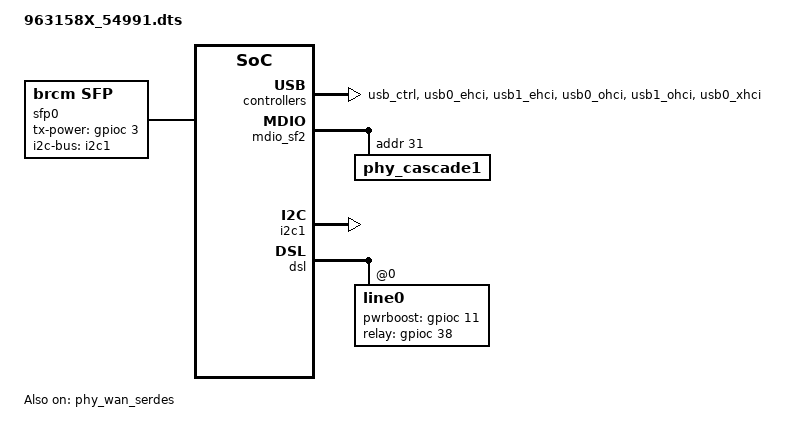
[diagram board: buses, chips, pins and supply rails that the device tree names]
#include "63158.dtsi"
#include "963158X_leds.dtsi"

/ {
    memory_controller {
        memcfg = <(BP_DDR_SPEED_1067_14_14_14 | \
                   BP_DDR_TOTAL_SIZE_512MB    | \
                   BP_DDR_DEVICE_WIDTH_16     | \
                   BP_DDR_TOTAL_WIDTH_16BIT   | \
                   BP_DDR_SSC_CONFIG_1)>;
    };

	buttons {
		compatible = "brcm,buttons";
		reset_button {
			ext_irq = <&bca_extintr 46 GPIO_ACTIVE_LOW (BCA_EXTINTR_TYPE_LOW_LEVEL | BCA_EXTINTR_TYPE_SENSE_EDGE)>;
			press {
				print = "Button Press -- Hold for 5s to do restore to default";
			};
			hold {
				rst_to_dflt = <5>;
			};
			release {
				reset = <0>;
			};	
		};
	};

	sfp0: sfp0 {
		compatible = "brcm,sfp";
		pinctrl-names = "default", "tx-sd", "rx-sd";
		pinctrl-0 = <&a_pmd_ext_los_pin_10 &a_rogue_onu_in_pin_40>;
		pinctrl-1 = <&a_rogue_onu_in_pin_40>;
		pinctrl-2 = <&a_pmd_ext_los_pin_10>;
		
		i2c-bus = <&i2c1>;
		mod-def0 = <&bca_extintr 9 GPIO_ACTIVE_LOW (BCA_EXTINTR_TYPE_BOTH_EDGE | BCA_EXTINTR_TYPE_SENSE_EDGE)>;
		tx-power-gpio = <&gpioc 3 GPIO_ACTIVE_HIGH>;
	};

	wan_serdes {
            status = "okay";
            trx = <&sfp0>;
            pon-led = <&led26>;
    };
};

&usb_ctrl {
	pinctrl-names="default";
	pinctrl-0 = <&usb0a_pwr_pins &usb1a_pwr_pins>;
	status = "okay";
	xhci-enable;
};

&usb0_ehci {
	status = "okay";
};
&usb1_ehci {
	status = "okay";
};

&usb0_ohci {
	status = "okay";
};
&usb1_ohci {
	status = "okay";
};

&usb0_xhci {
	status = "okay";
};

&vreg_sync {
		pinctrl-0 = <&a_vreg_sync_pin_19>;
		pinctrl-names = "default";
};

&mdio_sf2 {
        /* Port PHY mapping:
            port_runner_p0  <-->  port_sf2_p8 -###- port_sf2_p4 <--> xbar_grp0 -+-+- phy_serdes1 - phy_cascade1       
            port_runner_p1  <-->  port_sf2_p5 -# #- 
            port_runner_p2  <-->  port_sf2_p7 -###- 
                                              port_runner_p4/P3 <------------------> phy_serdes0 - sfp0 / PON
        */
	/* Cascade PHY */
	phy_cascade1 {
		reg = <31>;
		status = "okay";
	};
	
	/* PHYs connected to crossbar */
	phy_serdes1 {
		phy-handle = <&phy_cascade1>;
		status = "okay";
	};

	/* PHY directly connected to Runner */
	phy_serdes0 {
		trx = <&sfp0>;	
		status = "okay";
	};

	/* Crossbar groups */
	xbar_grp0 {
		phy-handle = <&phy_serdes1>;
		status = "okay";
	};
};

&switch_sf2 {
	ports {

		port_sf2_p4 {
			phy-handle = <&xbar_grp0>;
			/* xbar ext ep 0 serdes leds */
			network-leds-0 = <&led10 &led11 &led12 &led25>;
			status = "okay";
		};

	};
};

&switch0 {
	ports {
		
		port_runner_p4 {
			phy-handle = <&phy_serdes0>;
			network-leds = <&led13 &led14 &led15>;
			status = "okay";
		};

		port_runner_p3 {
			status = "okay";
		};
	};
};

&i2c1 {
	pinctrl-names = "default";
	pinctrl-0 = <&b1_i2c_sda_1_pin_15 &b1_i2c_scl_1_pin_16>;
	status = "okay";
};

&dsl {
	line0@0 {
		pinctrl-0 = <&vdsl_ctrl_0_pin_32>;
		pinctrl-names = "default";

		afeid = <(DSL_AFE_CHIP_GFAST_CH0 | DSL_AFE_LD_6305 | DSL_AFE_FE_REV_6305_REV_12_5_60_2| DSL_AFE_FE_RNC)>;
		afe-pwr-ctl = <DSL_AFE_VDSLCTL_0>;
		pwrboost-gpio = <&gpioc 11 GPIO_ACTIVE_HIGH>;
		relay-gpio = <&gpioc 38 GPIO_ACTIVE_HIGH>;
		status = "okay";
	};
};

&phy_wan_serdes {
    status = "okay";
};
